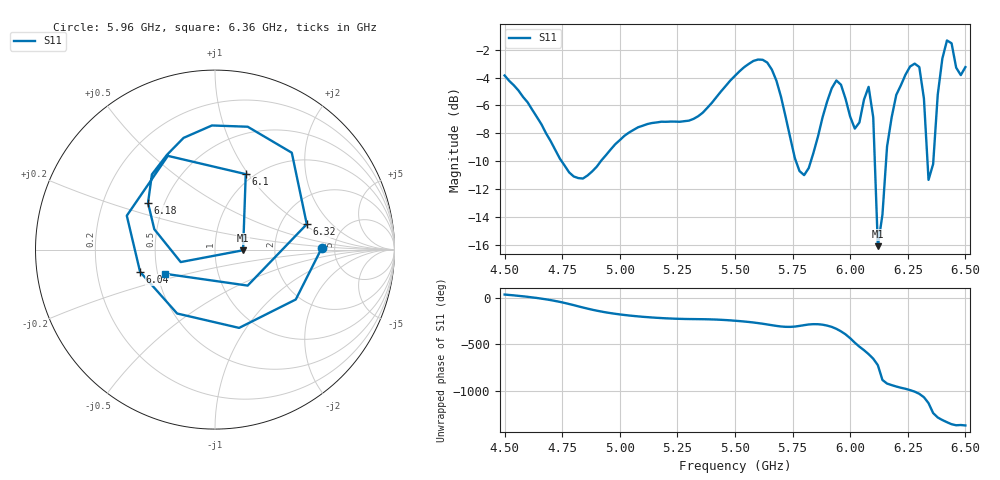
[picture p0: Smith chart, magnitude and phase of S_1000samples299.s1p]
! TOUCHSTONE file generated by CST MICROWAVE STUDIO
! Date and time: Thu Oct 27 16:43:59 2022
! Project name: L.cst
! Parameters = {Di=1.27; Epsilon_r=1.56; InnerDiameter=1.27; Length=2; Lf=10; Lg=60; OuterConductorThickness=0.2921; OuterDiameter=3.6; Wf=3; Wp=41.2; de=1.5; df=6.8; g=0.8; gx=3.21671; gy=0.87316; h=2.34; hf=1.524; px=14.199; py=13.0671; w=9.7; wx=10.9823; wy=12.1939}
! Header version: 2018
! Port assignment regex: !\s*Touchstone port\s*([0-9]+)\s*=\s*(CST MWS port|CST DS port)\s*([0-9]+|Zmin|Zmax)\s*\(\"(.*)\"\)(\s*mode\s*([0-9]+))?.*
! Touchstone port assignment:
! Touchstone port 1 = CST MWS port 1 ("")
# GHz S DB R 50
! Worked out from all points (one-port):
!   101 points, 4.5 GHz to 6.5 GHz, reference 50 ohm
!   lowest |S11| = -16.1 dB at 6.12 GHz (marker M1), VSWR 1.37, Z = 68.5 - j0.519 ohm
!   |S11| at or under -10 dB: 4.747 GHz to 4.918 GHz (170.4 MHz wide, 3.53 % of centre); 5.764 GHz to 5.829 GHz (64.89 MHz wide, 1.12 % of centre); 6.107 GHz to 6.156 GHz (48.92 MHz wide, 0.798 % of centre) (the widest 3 of 4)
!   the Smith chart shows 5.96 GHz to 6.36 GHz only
!   S11 on the Smith chart (normalised r, x): 5.96 GHz: 3.93, +0.11; 6.04 GHz: 0.40, -0.12; 6.1 GHz: 0.92, +0.97; 6.18 GHz: 0.41, +0.27; 6.32 GHz: 2.78, +1.09; 6.36 GHz: 0.55, -0.16
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4.5  -3.85 34.9
4.76  -10.31 -54.7
5  -8.49 -177.9
5.26  -7.17 134.6
5.5  -3.87 114.6
5.62  -2.72 82.3
5.68  -4.23 59.1
5.76  -9.80 51.9
5.84  -9.43 77.6
5.9  -5.71 62.3
5.96  -4.51 0.9
6  -6.81 -72.9
6.04  -7.22 -163.5
6.06  -5.57 159.0
6.08  -4.66 116.7
6.1  -6.86 67.8
6.12  -16.11 -1.4
6.14  -13.84 -160.0
6.18  -6.85 145.2
6.26  -3.20 91.4
6.3  -3.24 51.6
6.32  -5.51 15.5
6.34  -11.35 -47.8
6.36  -10.21 -154.1
6.38  -5.22 158.5
6.42  -1.33 107.9
6.46  -3.29 75.1
6.5  -3.24 73.1
